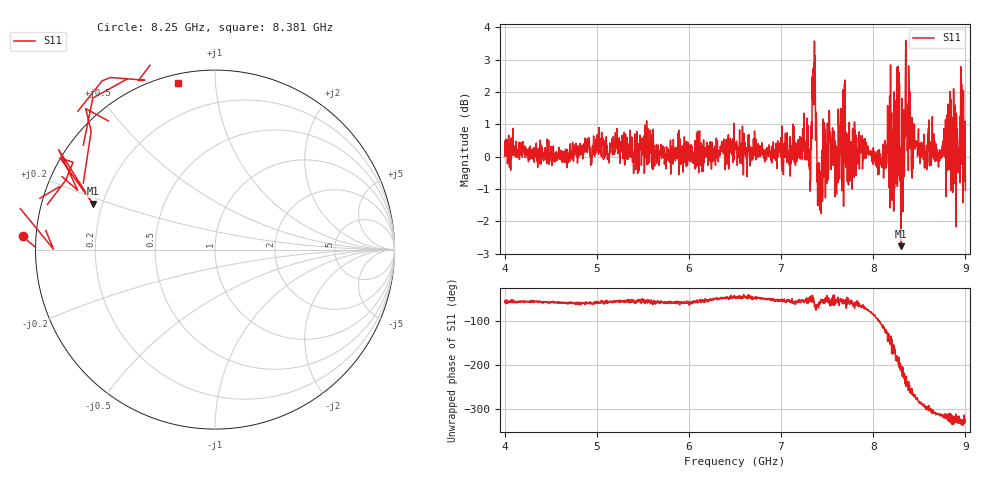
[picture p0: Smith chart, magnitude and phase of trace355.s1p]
! Created with skrf 1.8.0 (http://scikit-rf.org).
# Hz S RI R 50.0
!freq ReS11 ImS11
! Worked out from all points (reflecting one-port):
!   1601 points, 4 GHz to 9 GHz, reference 50 ohm
!   lowest |S11| = -2.8 dB at 8.3 GHz (marker M1), VSWR 6.33, Z = 8.15 + j8.84 ohm
!   phase of S11 starts at -56 deg and turns -269 deg over the sweep
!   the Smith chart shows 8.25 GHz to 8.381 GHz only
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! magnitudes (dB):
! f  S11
! 4 GHz  0.0
! 4.625 GHz  -0.2
! 5.25 GHz  -0.2
! 5.875 GHz  0.0
! 6.5 GHz  0.3
! 7.125 GHz  0.5
! 7.303 GHz  -0.3
! 7.359 GHz  2.4
! 7.412 GHz  -0.7
! 7.541 GHz  -0.4
! 7.609 GHz  -0.1
! 7.669 GHz  1.1
! 7.75 GHz  0.1
! 7.856 GHz  0.1
! 8.075 GHz  0.0
! 8.175 GHz  0.3
! 8.228 GHz  2.0
! 8.259 GHz  0.9
! 8.3 GHz  -2.8
! 8.316 GHz  0.4
! 8.334 GHz  1.5
! 8.375 GHz  0.7
! 8.425 GHz  0.4
! 8.562 GHz  -0.3
! 8.834 GHz  2.0
! 8.919 GHz  -0.3
! 8.959 GHz  2.3
! 9 GHz  -1.0
